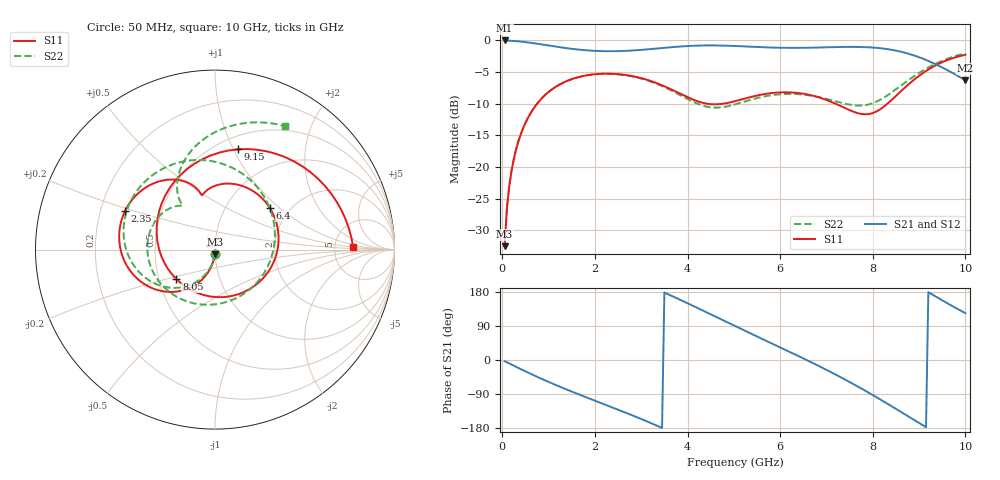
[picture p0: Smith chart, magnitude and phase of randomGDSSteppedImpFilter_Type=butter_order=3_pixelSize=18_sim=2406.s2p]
! freq	dB(S11)	phase(S11)	dB(S12)	phase(S12)
!  dB(S21)	phase(S21)	dB(S22)	phase(S22)
!S-par simulation data
#  GHz  S  DB  R 50
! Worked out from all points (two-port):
!   200 points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, 50 MHz to 10 GHz, reference 50 ohm
!   highest |S21| = -0.01 dB at 50 MHz (marker M1); lowest = -6.3 dB at 10 GHz (marker M2)
!   |S21| within 3 dB of the highest: start of sweep to 9.123 GHz
!   lowest |S11| = -32.5 dB at 50 MHz (marker M3), VSWR 1.05, Z = 49.8 - j2.35 ohm
!   |S11| at or under -10 dB: start of sweep to 752.5 MHz; 4.412 GHz to 4.775 GHz (362.7 MHz wide, 7.89 % of centre); 7.193 GHz to 8.318 GHz (1.125 GHz wide, 14.5 % of centre)
!   |S22| runs from -32.5 to -2.0 dB; largest |S21 - S12| = 0
!   S11 on the Smith chart (normalised r, x): 50 MHz: 1.00, -0.05; 2.35 GHz: 0.31, +0.19; 6.4 GHz: 1.59, +0.86; 8.05 GHz: 0.62, -0.22; 9.15 GHz: 0.63, +1.04; 10 GHz: 7.68, +0.45
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0.05  -32.54 -92.9  -0.01 -3.1  -0.01 -3.1  -32.54 -93.2
0.1  -26.54 -96.0  -0.02 -6.1  -0.02 -6.1  -26.54 -96.6
0.2  -20.59 -101.9  -0.06 -12.2  -0.06 -12.2  -20.60 -103.3
0.5  -13.04 -118.8  -0.27 -30.0  -0.27 -30.0  -13.05 -122.2
1.1  -7.59 -149.7  -0.91 -63.1  -0.91 -63.1  -7.60 -157.6
1.75  -5.62 -178.9  -1.52 -95.4  -1.52 -95.4  -5.63 167.0
2.35  -5.27 156.9  -1.71 -123.9  -1.71 -123.9  -5.29 134.6
2.9  -5.79 136.4  -1.55 -150.6  -1.55 -150.6  -5.84 102.1
3.4  -6.94 119.8  -1.24 -176.6  -1.24 -176.6  -7.06 67.3
4.15  -9.45 105.3  -0.84 141.1  -0.84 141.1  -9.81 -2.0
4.6  -10.11 103.4  -0.79 114.5  -0.79 114.5  -10.63 -53.8
5.05  -9.56 98.0  -0.89 88.0  -0.89 88.0  -10.07 -102.2
5.65  -8.50 78.1  -1.09 53.3  -1.09 53.3  -8.87 -151.7
6.4  -8.33 37.2  -1.18 10.1  -1.18 10.1  -8.51 164.1
6.7  -8.73 16.0  -1.14 -7.7  -1.14 -7.7  -8.78 150.4
7.5  -11.03 -61.7  -1.02 -58.1  -1.02 -58.1  -10.15 128.0
8.05  -11.34 -142.5  -1.15 -96.1  -1.15 -96.1  -9.79 126.0
8.35  -9.79 172.1  -1.41 -117.8  -1.41 -117.8  -8.52 123.7
8.7  -7.42 126.4  -1.96 -143.8  -1.96 -143.8  -6.65 115.8
9.15  -4.83 77.1  -3.08 -177.3  -3.08 -177.3  -4.47 99.0
9.5  -3.44 43.5  -4.28 157.5  -4.28 157.5  -3.21 83.4
10  -2.27 0.9  -6.30 123.6  -6.30 123.6  -2.04 60.4
